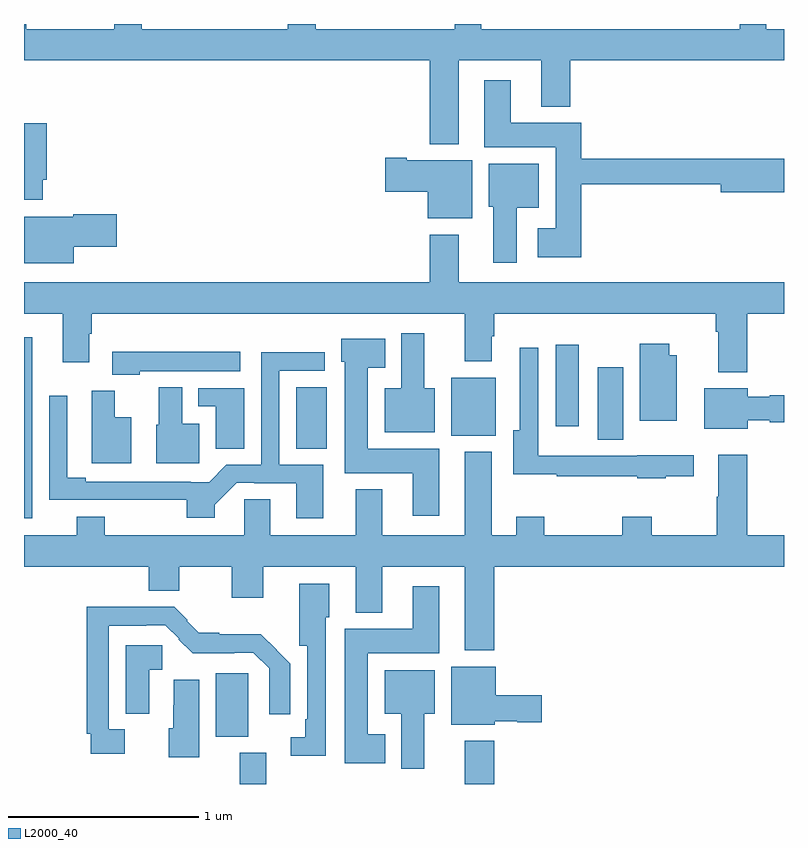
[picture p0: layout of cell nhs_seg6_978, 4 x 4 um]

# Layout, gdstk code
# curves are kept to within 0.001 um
import gdstk
lib = gdstk.Library(unit=1e-6, precision=1e-09)
def R(c, l, rs):  # rectangles x0, y0, x1, y1
    for r in rs: c.add(gdstk.rectangle(r[:2], r[2:], *l))
def P(c, l, *ps):  # polygons
    for p in ps: c.add(gdstk.Polygon(p, *l))
L2000_40 = (2000, 40)

nhs_seg6_978 = lib.new_cell('nhs_seg6_978')
R(nhs_seg6_978, L2000_40, [(172.136,971.5,172.276,971.665), (173.321,971.5,173.474,971.728), (172.01,971.75,172.18,972.084), (171,972.9,171.043,973.852), (172.433,973.264,172.594,973.589), (174.02,973.312,174.154,973.693), (173.249,973.334,173.482,973.639), (173.798,973.383,173.92,973.813)])
P(nhs_seg6_978, L2000_40, [(173.287,975.308),(173.723,975.308),(173.723,975.065),(173.876,975.065),(173.876,975.308),(175,975.308),(175,975.472),(174.907,975.472),(174.907,975.5),(174.767,975.5),(174.767,975.472),(173.407,975.472),(173.407,975.5),(173.268,975.5),(173.268,975.472),(172.536,975.472),(172.536,975.5),(172.388,975.5),(172.388,975.472),(171.621,975.472),(171.621,975.5),(171.474,975.5),(171.474,975.472),(171.012,975.472),(171.012,975.5),(171,975.5),(171,975.308),(173.135,975.308),(173.135,974.867),(173.287,974.867)],
  [(173.933,974.656),(174.668,974.656),(174.668,974.614),(175,974.614),(175,974.792),(173.933,974.792),(173.933,974.98),(173.563,974.98),(173.563,975.205),(173.423,975.205),(173.423,974.852),(173.798,974.852),(173.798,974.425),(173.703,974.425),(173.703,974.273),(173.933,974.273)],
  [(171.099,974.68),(171.119,974.68),(171.119,974.977),(171.002,974.977),(171.002,974.729),(171,974.729),(171,974.576),(171.099,974.576)],
  [(173.359,974.782),(173.014,974.782),(173.014,974.795),(172.902,974.795),(172.902,974.617),(173.126,974.617),(173.126,974.477),(173.359,974.477)],
  [(173.593,974.534),(173.71,974.534),(173.71,974.764),(173.447,974.764),(173.447,974.538),(173.471,974.538),(173.471,974.244),(173.593,974.244)],
  [(171.262,974.327),(171.487,974.327),(171.487,974.498),(171.258,974.498),(171.258,974.485),(171,974.485),(171,974.24),(171.262,974.24)],
  [(174.806,973.976),(175,973.976),(175,974.14),(173.287,974.14),(173.287,974.392),(173.135,974.392),(173.135,974.14),(171,974.14),(171,973.976),(171.203,973.976),(171.203,973.719),(171.343,973.719),(171.343,973.87),(171.356,973.87),(171.356,973.976),(173.321,973.976),(173.321,973.724),(173.461,973.724),(173.461,973.856),(173.474,973.856),(173.474,973.976),(174.641,973.976),(174.641,973.88),(174.653,973.88),(174.653,973.667),(174.806,973.667)],
  [(173.161,973.582),(173.107,973.582),(173.107,973.873),(172.985,973.873),(172.985,973.582),(172.898,973.582),(172.898,973.352),(173.161,973.352)],
  [(173.185,973.264),(172.81,973.264),(172.81,973.691),(172.9,973.691),(172.9,973.843),(172.67,973.843),(172.67,973.722),(172.688,973.722),(172.688,973.136),(173.045,973.136),(173.045,972.912),(173.185,972.912)],
  [(174.436,973.756),(174.397,973.756),(174.397,973.816),(174.242,973.816),(174.242,973.412),(174.436,973.412)],
  [(174.378,973.119),(174.526,973.119),(174.526,973.231),(174.228,973.231),(174.228,973.227),(173.916,973.227),(173.916,973.228),(173.706,973.228),(173.706,973.795),(173.61,973.795),(173.61,973.363),(173.576,973.363),(173.576,973.129),(173.803,973.129),(173.803,973.119),(174.228,973.119),(174.228,973.109),(174.378,973.109)],
  [(171.609,973.673),(172.138,973.673),(172.138,973.774),(171.465,973.774),(171.465,973.655),(171.609,973.655)],
  [(172.576,973.179),(172.344,973.179),(172.344,973.674),(172.582,973.674),(172.582,973.772),(172.248,973.772),(172.248,973.179),(172.064,973.179),(171.974,973.089),(171.878,973.089),(171.878,973.092),(171.325,973.092),(171.325,973.112),(171.228,973.112),(171.228,973.543),(171.132,973.543),(171.132,972.996),(171.856,972.995),(171.856,972.902),(172.003,972.902),(172.003,972.97),(172.119,973.086),(172.213,973.086),(172.213,973.083),(172.433,973.083),(172.433,972.9),(172.576,972.9)],
  [(171.922,973.396),(171.832,973.396),(171.832,973.588),(171.71,973.588),(171.71,973.392),(171.695,973.392),(171.695,973.187),(171.922,973.187)],
  [(172.159,973.584),(171.917,973.584),(171.917,973.488),(172.01,973.488),(172.01,973.264),(172.159,973.264)],
  [(174.808,973.415),(174.924,973.415),(174.924,973.403),(175,973.403),(175,973.545),(174.924,973.545),(174.924,973.537),(174.808,973.537),(174.808,973.582),(174.581,973.582),(174.581,973.37),(174.808,973.37)],
  [(171.565,973.429),(171.478,973.429),(171.478,973.57),(171.356,973.57),(171.356,973.187),(171.565,973.187)],
  [(173.474,972.644),(175,972.644),(175,972.808),(174.806,972.808),(174.806,973.234),(174.653,973.234),(174.653,973.013),(174.646,973.013),(174.646,972.808),(174.303,972.808),(174.303,972.907),(174.148,972.907),(174.148,972.808),(173.739,972.808),(173.739,972.907),(173.591,972.907),(173.591,972.808),(173.461,972.808),(173.461,973.249),(173.321,973.249),(173.321,972.808),(172.885,972.808),(172.885,973.051),(172.745,973.051),(172.745,972.808),(172.297,972.808),(172.297,972.998),(172.158,972.998),(172.158,972.808),(171.426,972.808),(171.426,972.907),(171.278,972.907),(171.278,972.808),(171,972.808),(171,972.644),(171.656,972.644),(171.656,972.518),(171.817,972.518),(171.817,972.644),(172.094,972.644),(172.094,972.48),(172.258,972.48),(172.258,972.644),(172.745,972.644),(172.745,972.401),(172.885,972.401),(172.885,972.644),(173.321,972.644),(173.321,972.203),(173.474,972.203)],
  [(172.587,972.378),(172.606,972.378),(172.606,972.553),(172.448,972.553),(172.448,972.228),(172.491,972.228),(172.491,971.842),(172.479,971.842),(172.479,971.745),(172.404,971.745),(172.404,971.648),(172.587,971.648)],
  [(172.9,971.761),(172.81,971.761),(172.81,972.188),(173.185,972.188),(173.185,972.541),(173.045,972.541),(173.045,972.316),(172.688,972.316),(172.688,971.609),(172.9,971.609)],
  [(171.53,971.788),(171.447,971.788),(171.447,972.332),(171.644,972.332),(171.644,972.336),(171.744,972.336),(171.816,972.264),(171.813,972.261),(171.887,972.188),(172.106,972.188),(172.106,972.192),(172.206,972.192),(172.29,972.108),(172.29,971.868),(172.402,971.868),(172.402,972.132),(172.247,972.289),(172.027,972.289),(172.027,972.297),(171.919,972.297),(171.857,972.359),(171.861,972.363),(171.791,972.433),(171.331,972.433),(171.331,971.764),(171.351,971.764),(171.351,971.66),(171.53,971.66)],
  [(171.658,972.101),(171.727,972.101),(171.727,972.23),(171.536,972.23),(171.536,971.869),(171.658,971.869)],
  [(173.478,971.831),(173.595,971.831),(173.595,971.824),(173.725,971.824),(173.725,971.966),(173.482,971.966),(173.482,972.118),(173.249,972.118),(173.249,971.813),(173.478,971.813)],
  [(173.107,971.87),(173.161,971.87),(173.161,972.1),(172.898,972.1),(172.898,971.87),(172.985,971.87),(172.985,971.58),(173.107,971.58)],
  [(171.922,972.049),(171.788,972.049),(171.788,971.915),(171.785,971.915),(171.785,971.793),(171.761,971.793),(171.761,971.642),(171.922,971.642)])

lib.write_gds('nhs_seg6_978.gds')
